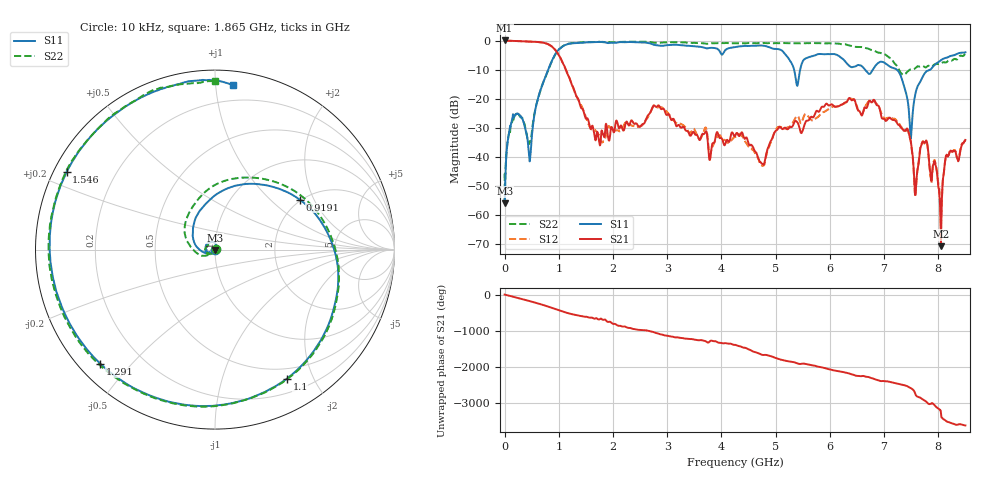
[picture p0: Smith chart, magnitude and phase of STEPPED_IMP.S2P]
!Agilent Technologies,E5071C,MY46104870,A.11.22
!Date: Sun Jan 01 02:04:03 2017
!Data & Calibration Information:
!Freq	S11:SOLT2(ON)	S21:SOLT2(ON)	S12:SOLT2(ON)	S22:SOLT2(ON)
!PortZ  Port1:50+j0  Port2:50+j0
!Above PortZ is port z conversion or system Z0 setting when saving the data.
!When reading, reference impedance value at option line is always used.
# Hz S dB R 50
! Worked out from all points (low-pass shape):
!   1601 points, 10 kHz to 8.5 GHz, reference 50 ohm
!   highest |S21| = 0.02 dB at 10 kHz (marker M1); lowest = -70.8 dB at 8.048 GHz (marker M2)
!   |S21| within 3 dB of the highest: start of sweep to 922.7 MHz
!   lowest |S11| = -56.0 dB at 5.322 MHz (marker M3), VSWR 1.00, Z = 50.1 - j0.145 ohm
!   |S11| at or under -10 dB: start of sweep to 805.1 MHz; 6.646 GHz to 6.794 GHz (147.2 MHz wide, 2.19 % of centre); 7.233 GHz to 7.854 GHz (621 MHz wide, 8.23 % of centre)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
!   |S22| runs from -55.7 to -0.4 dB; largest |S21 - S12| = 0.021
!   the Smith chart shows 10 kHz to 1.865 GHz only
!   S11 on the Smith chart (normalised r, x): 10 kHz: 1.00, -0.00; 919.1 MHz: 1.96, +1.56; 1.1 GHz: 0.37, -1.64; 1.291 GHz: 0.06, -0.41; 1.546 GHz: 0.04, +0.25; 1.865 GHz: 0.09, +1.11
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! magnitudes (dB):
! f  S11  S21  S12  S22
! 10 kHz  -54.6  0.0  0.0  -45.8
! 5.322 MHz  -56.0  0.0  0.0  -55.7
! 143.4 MHz  -26.6  -0.1  -0.1  -27.5
! 467.5 MHz  -41.2  -0.4  -0.4  -34.8
! 919.1 MHz  -5.2  -2.9  -2.9  -5.4
! 1.1 GHz  -1.7  -8.6  -8.8  -1.7
! 1.291 GHz  -0.9  -17.4  -17.7  -0.8
! 1.418 GHz  -0.7  -23.3  -22.5  -0.7
! 1.546 GHz  -0.6  -27.6  -28.7  -0.6
! 1.865 GHz  -0.7  -29.0  -33.0  -0.5
! 2.837 GHz  -1.7  -22.3  -23.0  -0.8
! 4.25 GHz  -2.3  -32.9  -33.2  -1.0
! 4.755 GHz  -1.7  -42.6  -43.1  -0.9
! 5.398 GHz  -15.6  -28.1  -26.0  -0.9
! 5.668 GHz  -5.4  -26.3  -27.5  -0.9
! 7.087 GHz  -8.7  -26.8  -26.6  -5.8
! 7.496 GHz  -33.6  -35.0  -35.3  -9.9
! 7.586 GHz  -17.6  -51.5  -51.6  -9.3
! 7.767 GHz  -10.9  -34.7  -35.3  -9.3
! 8.048 GHz  -6.8  -70.8  -64.6  -7.9
! 8.16 GHz  -5.9  -39.6  -39.5  -7.4
! 8.5 GHz  -4.0  -34.3  -34.2  -4.6
